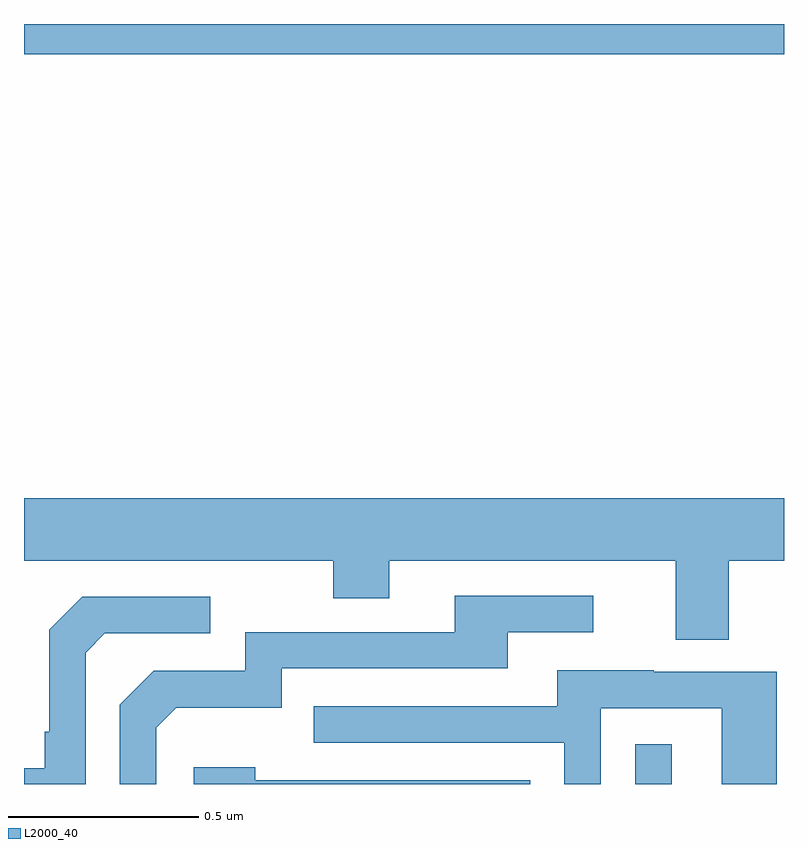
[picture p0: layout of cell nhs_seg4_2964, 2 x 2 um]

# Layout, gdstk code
import gdstk
lib = gdstk.Library(unit=1e-6, precision=1e-09)
def R(c, l, rs):  # rectangles x0, y0, x1, y1
    for r in rs: c.add(gdstk.rectangle(r[:2], r[2:], *l))
def P(c, l, *ps):  # polygons
    for p in ps: c.add(gdstk.Polygon(p, *l))
L2000_40 = (2000, 40)

nhs_seg4_2964 = lib.new_cell('nhs_seg4_2964')
R(nhs_seg4_2964, L2000_40, [(148.608,794.9,148.705,795.004), (147,796.82,149,796.9)])
P(nhs_seg4_2964, L2000_40, [(148.855,795.488),(149,795.488),(149,795.652),(147,795.652),(147,795.488),(147.814,795.488),(147.814,795.389),(147.961,795.389),(147.961,795.488),(148.715,795.488),(148.715,795.28),(148.855,795.28)],
  [(147.348,795.048),(147.401,795.101),(147.678,795.101),(147.678,795.204),(148.273,795.204),(148.273,795.3),(148.498,795.3),(148.498,795.396),(148.133,795.396),(148.133,795.3),(147.582,795.3),(147.582,795.198),(147.342,795.198),(147.252,795.108),(147.252,794.9),(147.348,794.9)],
  [(147.162,795.246),(147.213,795.297),(147.49,795.297),(147.49,795.393),(147.153,795.393),(147.066,795.306),(147.066,795.037),(147.054,795.037),(147.054,794.941),(147,794.941),(147,794.9),(147.162,794.9)],
  [(148.518,795.099),(148.836,795.099),(148.836,794.9),(148.981,794.9),(148.981,795.195),(148.657,795.195),(148.657,795.199),(148.403,795.199),(148.403,795.105),(147.763,795.105),(147.763,795.009),(148.422,795.009),(148.422,794.9),(148.518,794.9)],
  [(148.332,794.91),(147.608,794.91),(147.608,794.944),(147.447,794.944),(147.447,794.9),(148.332,794.9)])

lib.write_gds('nhs_seg4_2964.gds')
